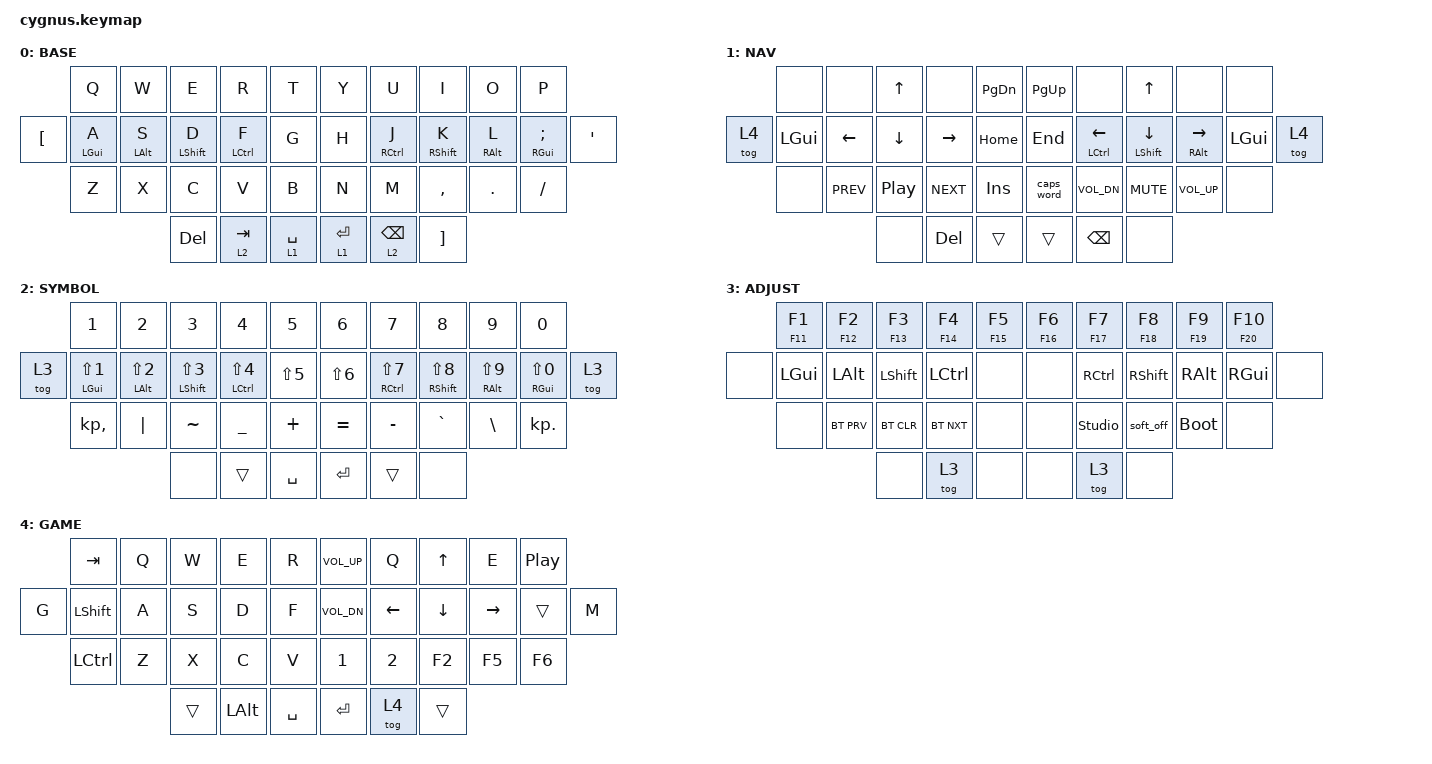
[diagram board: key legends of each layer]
#include <behaviors.dtsi>
#include <dt-bindings/zmk/keys.h>
#include <dt-bindings/zmk/bt.h>

&mt {
    quick-tap-ms = <175>;
    flavor = "balanced";
    tapping-term-ms = <280>;
    require-prior-idle-ms = <150>;
};

&lt {
    tapping-term-ms = <280>;
    quick-tap-ms = <175>;
    require-prior-idle-ms = <150>;
    flavor = "balanced";
};

/ {
    combos {
        compatible = "zmk,combos";

        change_input {
            bindings = <&kp LS(LALT)>;
            key-positions = <34 35>;
        };

        move_window {
            bindings = <&kp LS(LG(LEFT))>;
            key-positions = <2 7>;
        };

        esc_right {
            bindings = <&kp ESC>;
            key-positions = <17 18 16>;
        };

        esc_left {
            bindings = <&kp ESC>;
            key-positions = <11 12 13>;
        };
    };

    keymap {
        compatible = "zmk,keymap";

        qwerty {
            display-name = "BASE";
            bindings = <
                  &kp Q       &kp W           &kp E        &kp R        &kp T          &kp Y        &kp U            &kp I              &kp O       &kp P
&kp LEFT_BRACKET  &mt LGUI A  &mt LEFT_ALT S  &mt LSHFT D  &mt LCTRL F  &kp G          &kp H        &mt RCTRL J      &mt RSHFT K        &mt RALT L  &mt RGUI SEMI       &kp SQT
                  &kp Z       &kp X           &kp C        &kp V        &kp B          &kp N        &kp M            &kp COMMA          &kp DOT     &kp FSLH
                                              &kp DEL      &lt 2 TAB    &lt 1 SPACE    &lt 1 ENTER  &lt 2 BACKSPACE  &kp RIGHT_BRACKET
            >;
        };

        navigation {
            display-name = "NAV";
            bindings = <
        &none         &none       &kp UP    &none       &kp PG_DN     &kp PG_UP   &none           &kp UP                &none           &none
&tog 4  &kp LEFT_GUI  &kp LEFT    &kp DOWN  &kp RIGHT   &kp HOME      &kp END     &mt LCTRL LEFT  &mt LSHFT DOWN_ARROW  &mt RALT RIGHT  &kp LGUI     &tog 4
        &none         &kp C_PREV  &kp C_PP  &kp C_NEXT  &kp INSERT    &caps_word  &kp C_VOL_DN    &kp C_MUTE            &kp C_VOL_UP    &none
                                  &none     &kp DEL     &trans        &trans      &kp BACKSPACE   &none
            >;
        };

        symbol {
            display-name = "SYMBOL";
            bindings = <
        &kp N1                 &kp N2                 &kp N3                   &kp N4                  &kp N5        &kp N6            &kp N7            &kp N8            &kp N9           &kp N0
&tog 3  &mt LGUI LS(NUMBER_1)  &mt LALT LS(NUMBER_2)  &mt LSHIFT LS(NUMBER_3)  &mt LCTRL LS(NUMBER_4)  &kp LS(N5)    &kp LS(NUMBER_6)  &mt RCTRL LS(N7)  &mt RSHFT LS(N8)  &mt RALT LS(N9)  &mt RGUI LS(N0)       &tog 3
        &kp KP_COMMA           &kp PIPE               &kp TILDE                &kp UNDER               &kp PLUS      &kp EQUAL         &kp MINUS         &kp GRAVE         &kp BACKSLASH    &kp KP_DOT
                                                      &none                    &trans                  &kp SPACE     &kp ENTER         &trans            &none
            >;
        };

        func {
            display-name = "ADJUST";
            bindings = <
       &mt F11 F1  &mt F12 F2  &mt F13 F3  &mt F14 F4  &mt F15 F5    &mt F16 F6  &mt F17 F7      &mt F18 F8  &mt F19 F9   &mt F20 F10
&none  &kp LGUI    &kp LALT    &kp LSHFT   &kp LCTRL   &none         &none       &kp RCTRL       &kp RSHFT   &kp RALT     &kp RGUI        &none
       &none       &bt BT_PRV  &bt BT_CLR  &bt BT_NXT  &none         &none       &studio_unlock  &soft_off   &bootloader  &none
                               &none       &tog 3      &none         &none       &tog 3          &none
            >;
        };

        game {
            display-name = "GAME";
            bindings = <
       &kp TAB    &kp Q  &kp W   &kp E     &kp R                                &kp C_VOL_UP  &kp Q     &kp UP    &kp E      &kp C_PP
&kp G  &kp LSHFT  &kp A  &kp S   &kp D     &kp F                                &kp C_VOL_DN  &kp LEFT  &kp DOWN  &kp RIGHT  &trans    &kp M
       &kp LCTRL  &kp Z  &kp X   &kp C     &kp V                                &kp N1        &kp N2    &kp F2    &kp F5     &kp F6
                                 &trans    &kp LALT  &kp SPACE    &kp ENTER     &tog 4    &trans
            >;
        };
    };
};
